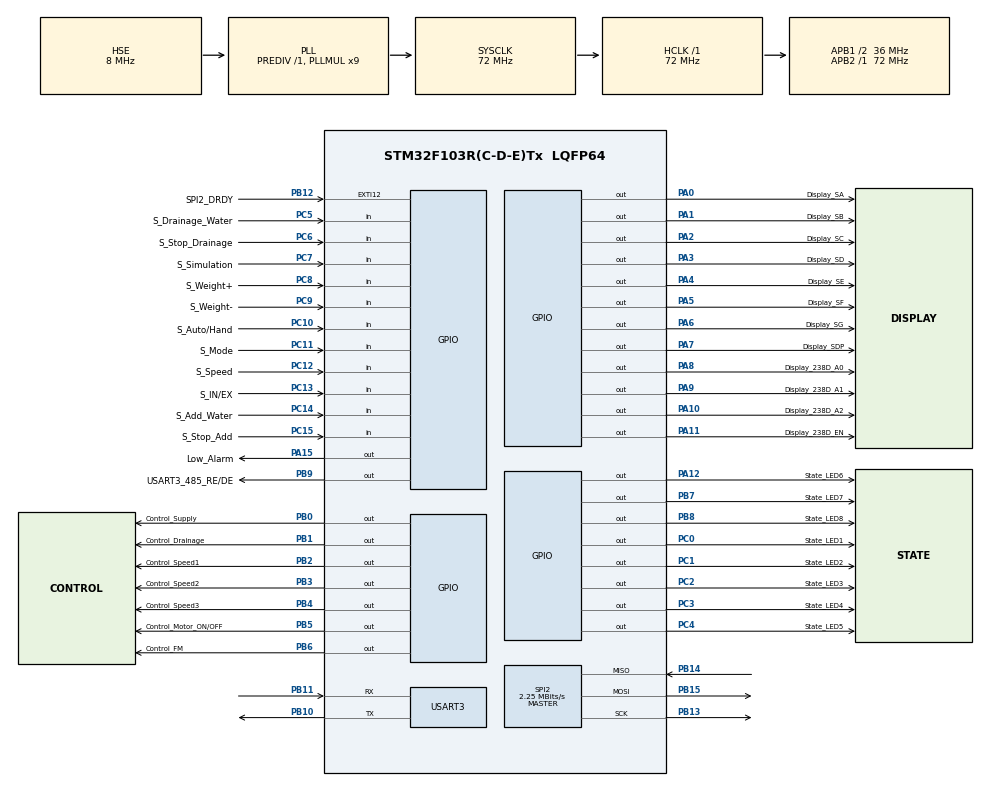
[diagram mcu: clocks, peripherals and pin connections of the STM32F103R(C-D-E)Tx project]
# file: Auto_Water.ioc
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Dma.Request0=USART3_RX
Dma.USART3_RX.0.Direction=DMA_PERIPH_TO_MEMORY
Dma.USART3_RX.0.Instance=DMA1_Channel3
Dma.USART3_RX.0.MemDataAlignment=DMA_MDATAALIGN_BYTE
Dma.USART3_RX.0.MemInc=DMA_MINC_ENABLE
Dma.USART3_RX.0.Mode=DMA_CIRCULAR
Dma.USART3_RX.0.PeriphDataAlignment=DMA_PDATAALIGN_BYTE
Dma.USART3_RX.0.PeriphInc=DMA_PINC_DISABLE
Dma.USART3_RX.0.Priority=DMA_PRIORITY_HIGH
FREERTOS.Tasks01=tskCtrl,32,768,StartCtrl,Default,NULL,Dynamic,NULL,NULL;tskWeigh,32,512,StartWeigh,Default,NULL,Dynamic,NULL,NULL;tskAct,32,512,StartAct,Default,NULL,Dynamic,NULL,NULL;tskUI,24,512,StartUI,Default,NULL,Dynamic,NULL,NULL;tskCom,24,768,StartCom,Default,NULL,Dynamic,NULL,NULL;tskSafety,24,384,StartTask06,Default,NULL,Dynamic,NULL,NULL;tskWdg,8,256,StartWdg,Default,NULL,Dynamic,NULL,NULL
FREERTOS.configTOTAL_HEAP_SIZE=22000
FREERTOS.configUSE_MALLOC_FAILED_HOOK=1
FREERTOS.configUSE_NEWLIB_REENTRANT=0
Mcu.Family=STM32F1
Mcu.Name=STM32F103R(C-D-E)Tx
Mcu.Package=LQFP64
NVIC.DMA1_Channel3_IRQn=true\:5\:0\:false\:false\:true\:true\:false\:true\:true
NVIC.EXTI15_10_IRQn=true\:6\:0\:true\:false\:true\:false\:true\:true\:true
NVIC.PriorityGroup=NVIC_PRIORITYGROUP_4
NVIC.TIM3_IRQn=true\:7\:0\:true\:false\:true\:true\:true\:true\:true
NVIC.TIM6_IRQn=true\:15\:0\:false\:false\:true\:false\:false\:true\:true
NVIC.TimeBase=TIM6_IRQn
NVIC.TimeBaseIP=TIM6
NVIC.USART3_IRQn=true\:5\:0\:false\:false\:true\:true\:true\:true\:true
PA0-WKUP.GPIO_Label=Display_SA
PA0-WKUP.PinState=GPIO_PIN_SET
PA0-WKUP.Signal=GPIO_Output
PA1.GPIO_Label=Display_SB
PA1.PinState=GPIO_PIN_SET
PA1.Signal=GPIO_Output
PA10.GPIO_Label=Display_238D_A2
PA10.PinState=GPIO_PIN_SET
PA10.Signal=GPIO_Output
PA11.GPIO_Label=Display_238D_EN
PA11.PinState=GPIO_PIN_SET
PA11.Signal=GPIO_Output
PA12.GPIO_Label=State_LED6
PA12.PinState=GPIO_PIN_SET
PA12.Signal=GPIO_Output
PA13.Mode=Serial_Wire
PA13.Signal=SYS_JTMS-SWDIO
PA14.Mode=Serial_Wire
PA14.Signal=SYS_JTCK-SWCLK
PA15.GPIO_Label=Low_Alarm
PA15.PinState=GPIO_PIN_SET
PA15.Signal=GPIO_Output
PA2.GPIO_Label=Display_SC
PA2.PinState=GPIO_PIN_SET
PA2.Signal=GPIO_Output
PA3.GPIO_Label=Display_SD
PA3.PinState=GPIO_PIN_SET
PA3.Signal=GPIO_Output
PA4.GPIO_Label=Display_SE
PA4.PinState=GPIO_PIN_SET
PA4.Signal=GPIO_Output
PA5.GPIO_Label=Display_SF
PA5.PinState=GPIO_PIN_SET
PA5.Signal=GPIO_Output
PA6.GPIO_Label=Display_SG
PA6.PinState=GPIO_PIN_SET
PA6.Signal=GPIO_Output
PA7.GPIO_Label=Display_SDP
PA7.PinState=GPIO_PIN_SET
PA7.Signal=GPIO_Output
PA8.GPIO_Label=Display_238D_A0
PA8.PinState=GPIO_PIN_SET
PA8.Signal=GPIO_Output
PA9.GPIO_Label=Display_238D_A1
PA9.PinState=GPIO_PIN_SET
PA9.Signal=GPIO_Output
PB0.GPIO_Label=Control_Supply
PB0.PinState=GPIO_PIN_SET
PB0.Signal=GPIO_Output
PB1.GPIO_Label=Control_Drainage
PB1.PinState=GPIO_PIN_SET
PB1.Signal=GPIO_Output
PB10.Mode=Asynchronous
PB10.Signal=USART3_TX
PB11.Mode=Asynchronous
PB11.Signal=USART3_RX
PB12.GPIO_Label=SPI2_DRDY
PB12.GPIO_ModeDefaultEXTI=GPIO_MODE_IT_FALLING
PB12.GPIO_PuPd=GPIO_PULLUP
PB12.Signal=GPXTI12
PB13.Mode=Full_Duplex_Master
PB13.Signal=SPI2_SCK
PB14.Mode=Full_Duplex_Master
PB14.Signal=SPI2_MISO
PB15.Mode=Full_Duplex_Master
PB15.Signal=SPI2_MOSI
PB2.GPIO_Label=Control_Speed1
PB2.PinState=GPIO_PIN_SET
PB2.Signal=GPIO_Output
PB3.GPIO_Label=Control_Speed2
PB3.PinState=GPIO_PIN_SET
PB3.Signal=GPIO_Output
PB4.GPIO_Label=Control_Speed3
PB4.PinState=GPIO_PIN_SET
PB4.Signal=GPIO_Output
PB5.GPIO_Label=Control_Motor_ON/OFF
PB5.PinState=GPIO_PIN_SET
PB5.Signal=GPIO_Output
PB6.GPIO_Label=Control_FM
PB6.PinState=GPIO_PIN_SET
PB6.Signal=GPIO_Output
PB7.GPIO_Label=State_LED7
PB7.PinState=GPIO_PIN_SET
PB7.Signal=GPIO_Output
PB8.GPIO_Label=State_LED8
PB8.PinState=GPIO_PIN_SET
PB8.Signal=GPIO_Output
PB9.GPIO_Label=USART3_485_RE/DE
PB9.PinState=GPIO_PIN_SET
PB9.Signal=GPIO_Output
PC0.GPIO_Label=State_LED1
PC0.PinState=GPIO_PIN_SET
PC0.Signal=GPIO_Output
PC1.GPIO_Label=State_LED2
PC1.PinState=GPIO_PIN_SET
PC1.Signal=GPIO_Output
PC10.GPIO_Label=S_Auto/Hand
PC10.GPIO_PuPd=GPIO_PULLUP
PC10.Signal=GPIO_Input
PC11.GPIO_Label=S_Mode
PC11.GPIO_PuPd=GPIO_PULLUP
PC11.Signal=GPIO_Input
PC12.GPIO_Label=S_Speed
PC12.GPIO_PuPd=GPIO_PULLUP
PC12.Signal=GPIO_Input
PC13-TAMPER-RTC.GPIO_Label=S_IN/EX
PC13-TAMPER-RTC.GPIO_PuPd=GPIO_PULLUP
PC13-TAMPER-RTC.Signal=GPIO_Input
PC14-OSC32_IN.GPIO_Label=S_Add_Water
PC14-OSC32_IN.GPIO_PuPd=GPIO_PULLUP
PC14-OSC32_IN.Signal=GPIO_Input
PC15-OSC32_OUT.GPIO_Label=S_Stop_Add
PC15-OSC32_OUT.GPIO_PuPd=GPIO_PULLUP
PC15-OSC32_OUT.Signal=GPIO_Input
PC2.GPIO_Label=State_LED3
PC2.PinState=GPIO_PIN_SET
PC2.Signal=GPIO_Output
PC3.GPIO_Label=State_LED4
PC3.PinState=GPIO_PIN_SET
PC3.Signal=GPIO_Output
PC4.GPIO_Label=State_LED5
PC4.PinState=GPIO_PIN_SET
PC4.Signal=GPIO_Output
PC5.GPIO_Label=S_Drainage_Water
PC5.GPIO_PuPd=GPIO_PULLUP
PC5.Signal=GPIO_Input
PC6.GPIO_Label=S_Stop_Drainage
PC6.GPIO_PuPd=GPIO_PULLUP
PC6.Signal=GPIO_Input
PC7.GPIO_Label=S_Simulation
PC7.GPIO_PuPd=GPIO_PULLUP
PC7.Signal=GPIO_Input
PC8.GPIO_Label=S_Weight+
PC8.GPIO_PuPd=GPIO_PULLUP
PC8.Signal=GPIO_Input
PC9.GPIO_Label=S_Weight-
PC9.GPIO_PuPd=GPIO_PULLUP
PC9.Signal=GPIO_Input
PD0-OSC_IN.Mode=HSE-External-Oscillator
PD0-OSC_IN.Signal=RCC_OSC_IN
PD1-OSC_OUT.Mode=HSE-External-Oscillator
PD1-OSC_OUT.Signal=RCC_OSC_OUT
ProjectManager.HeapSize=0x200
ProjectManager.StackSize=0x400
ProjectManager.TargetToolchain=MDK-ARM V5.32
RCC.AHBFreq_Value=72000000
RCC.APB1CLKDivider=RCC_HCLK_DIV2
RCC.APB1Freq_Value=36000000
RCC.APB1TimFreq_Value=72000000
RCC.APB2Freq_Value=72000000
RCC.APB2TimFreq_Value=72000000
RCC.HCLKFreq_Value=72000000
RCC.PLLMUL=RCC_PLL_MUL9
RCC.PLLSourceVirtual=RCC_PLLSOURCE_HSE
RCC.SYSCLKFreq_VALUE=72000000
RCC.SYSCLKSource=RCC_SYSCLKSOURCE_PLLCLK
RCC.USBFreq_Value=72000000
SPI2.BaudRatePrescaler=SPI_BAUDRATEPRESCALER_16
SPI2.CLKPhase=SPI_PHASE_2EDGE
SPI2.CLKPolarity=SPI_POLARITY_HIGH
SPI2.CalculateBaudRate=2.25 MBits/s
SPI2.Direction=SPI_DIRECTION_2LINES
SPI2.Mode=SPI_MODE_MASTER
SPI2.VirtualType=VM_MASTER
TIM3.AutoReloadPreload=TIM_AUTORELOAD_PRELOAD_ENABLE
TIM3.Period=999
TIM3.Prescaler=71
USART3.VirtualMode=VM_ASYNC
VP_FREERTOS_VS_CMSIS_V2.Mode=CMSIS_V2
VP_SYS_VS_tim6.Mode=TIM6
VP_TIM3_VS_ClockSourceINT.Mode=Internal
board=custom

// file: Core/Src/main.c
/* USER CODE BEGIN Header */
/**
  ******************************************************************************
  * @file           : main.c
  * @brief          : Main program body
  ******************************************************************************
  * @attention
  *
  * Copyright (c) 2025 STMicroelectronics.
  * All rights reserved.
  *
  * This software is licensed under terms that can be found in the LICENSE file
  * in the root directory of this software component.
  * If no LICENSE file comes with this software, it is provided AS-IS.
  *
  ******************************************************************************
  */
/* USER CODE END Header */
#include "main.h"
#include "cmsis_os.h"
#include "dma.h"
#include "spi.h"
#include "tim.h"
#include "usart.h"
#include "gpio.h"

/* USER CODE BEGIN Includes */
#include "bsp_display.h"
#include "bsp_tm7705.h"
#include "app_state.h"
#include "app_display.h"
#include "app_comm.h"
#include "ctrl_logic.h"
#include "measure_weight.h"
#include "bsp_output.h"
#include "bsp_key.h"
#include "bsp_rs485.h"
#include <stdint.h>
#include <stdio.h>
/* USER CODE END Includes */

/* USER CODE BEGIN PD */
volatile uint8_t g_blink_on = 0;
static uint16_t s_blink_div = 0;

/* USER CODE END PD */

void SystemClock_Config(void);
void MX_FREERTOS_Init(void);

int main(void)
{

  /* MCU Configuration--------------------------------------------------------*/

  /* Reset of all peripherals, Initializes the Flash interface and the Systick. */
  HAL_Init();

  /* Configure the system clock */
  SystemClock_Config();

  /* Initialize all configured peripherals */
  MX_GPIO_Init();
  MX_DMA_Init();
  MX_SPI2_Init();
  MX_TIM3_Init();
  MX_USART3_UART_Init();
  /* USER CODE BEGIN 2 */
  HAL_TIM_Base_Start_IT(&htim3);
  AppDisplay_Init();
  AppComm_Init();
  TM7705_Init();
  RS485_Init();
  Output_Init();
  Key_Init();
  Weight_Init();
  SystemState_Init();

  /* USER CODE END 2 */

  /* Init scheduler */
  //osKernelInitialize();  /* Call init function for freertos objects (in cmsis_os2.c) */
  //MX_FREERTOS_Init();

  /* Start scheduler */
  //osKernelStart();

  /* We should never get here as control is now taken by the scheduler */

  /* Infinite loop */
  while (1)
  {

    /* USER CODE BEGIN 3 */
    Control_Run();
    AppDisplay_SetValues((float)g_sys.process_value, (float)g_sys.set_value);
    AppComm_Poll();
    //HAL_Delay(100);
  }
  /* USER CODE END 3 */
}

void SystemClock_Config(void)
{
  RCC_OscInitTypeDef RCC_OscInitStruct = {0};
  RCC_ClkInitTypeDef RCC_ClkInitStruct = {0};

  /** Initializes the RCC Oscillators according to the specified parameters
  * in the RCC_OscInitTypeDef structure.
  */
  RCC_OscInitStruct.OscillatorType = RCC_OSCILLATORTYPE_HSE;
  RCC_OscInitStruct.HSEState = RCC_HSE_ON;
  RCC_OscInitStruct.HSEPredivValue = RCC_HSE_PREDIV_DIV1;
  RCC_OscInitStruct.HSIState = RCC_HSI_ON;
  RCC_OscInitStruct.PLL.PLLState = RCC_PLL_ON;
  RCC_OscInitStruct.PLL.PLLSource = RCC_PLLSOURCE_HSE;
  RCC_OscInitStruct.PLL.PLLMUL = RCC_PLL_MUL9;
  if (HAL_RCC_OscConfig(&RCC_OscInitStruct) != HAL_OK)
  {
    Error_Handler();
  }

  /** Initializes the CPU, AHB and APB buses clocks
  */
  RCC_ClkInitStruct.ClockType = RCC_CLOCKTYPE_HCLK|RCC_CLOCKTYPE_SYSCLK
                              |RCC_CLOCKTYPE_PCLK1|RCC_CLOCKTYPE_PCLK2;
  RCC_ClkInitStruct.SYSCLKSource = RCC_SYSCLKSOURCE_PLLCLK;
  RCC_ClkInitStruct.AHBCLKDivider = RCC_SYSCLK_DIV1;
  RCC_ClkInitStruct.APB1CLKDivider = RCC_HCLK_DIV2;
  RCC_ClkInitStruct.APB2CLKDivider = RCC_HCLK_DIV1;

  if (HAL_RCC_ClockConfig(&RCC_ClkInitStruct, FLASH_LATENCY_2) != HAL_OK)
  {
    Error_Handler();
  }
}

/* USER CODE BEGIN 4 */
void HAL_GPIO_EXTI_Callback(uint16_t GPIO_Pin)
{
    if (GPIO_Pin == SPI2_DRDY_Pin) {
        TM7705_DrdyIRQ();
    }
}
/* USER CODE END 4 */

void HAL_TIM_PeriodElapsedCallback(TIM_HandleTypeDef *htim)
{
  if (htim->Instance == TIM6)
  {
    HAL_IncTick();
  }
  /* USER CODE BEGIN Callback 1 */
  else if (htim->Instance == TIM3) {
    // 显示扫描：每个更新周期扫一位
    AppDisplay_ScanISR();
    Key_ScanTick();
    if (++s_blink_div >= 500)// LED闪烁控制，大约每500ms切换一次状态
    {
      s_blink_div = 0;
      g_blink_on ^= 1;
    }
  }
  /* USER CODE END Callback 1 */
}

void Error_Handler(void)
{
  __disable_irq();
  while (1)
  {
  }
}
